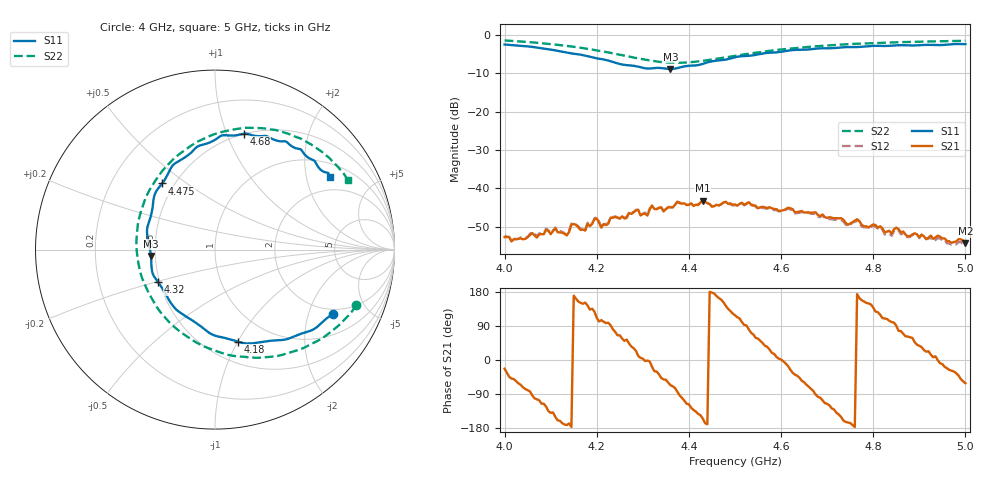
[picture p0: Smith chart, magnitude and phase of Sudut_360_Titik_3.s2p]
# Hz S RI R 50
! CMT, C1220, 16058040, 17.2.0/1
! Date: 15/08/2018 12:42:51
! Data: Format (Calibration Info)
! Freq  S11: Re/Im (F2)  S21: Re/Im (F2)  S12: Re/Im (F2)  S22: Re/Im (F2)
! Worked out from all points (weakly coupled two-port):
!   201 points, 4 GHz to 5 GHz, reference 50 ohm
!   highest |S21| = -43.26 dB at 4.43 GHz (marker M1); lowest = -54.4 dB at 5 GHz (marker M2)
!   lowest |S11| = -8.9 dB at 4.36 GHz (marker M3), VSWR 2.12, Z = 23.6 - j1.93 ohm
!   |S11| at or under -10 dB: nowhere
!   |S22| runs from -7.3 to -1.4 dB; largest |S21 - S12| = 0.00028
!   S11 on the Smith chart (normalised r, x): 4 GHz: 1.80, -2.93; 4.18 GHz: 0.70, -1.00; 4.32 GHz: 0.49, -0.20; 4.475 GHz: 0.43, +0.41; 4.68 GHz: 0.50, +1.15; 5 GHz: 1.45, +2.75
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4e9  0.6597 -0.3569  0.00212 -0.000905  0.00225 -0.000914  0.7877 -0.3106
4.015e9  0.6327 -0.3749  0.00133 -0.00153  0.00142 -0.00148  0.7624 -0.3454
4.11e9  0.3758 -0.5033  -0.00261 -0.00151  -0.00265 -0.00156  0.5266 -0.5315
4.135e9  0.292 -0.5103  -0.0024 -0.000347  -0.00243 -0.000459  0.442 -0.566
4.15e9  0.2324 -0.5191  -0.00336 0.000607  -0.00352 0.000524  0.3867 -0.583
4.17e9  0.1602 -0.5211  -0.00247 0.00151  -0.00259 0.00152  0.3102 -0.5972
4.18e9  0.1267 -0.5129  -0.00279 0.00204  -0.0029 0.00204  0.2682 -0.6004
4.2e9  0.0533 -0.4919  -0.00147 0.00378  -0.00157 0.0039  0.1843 -0.5998
4.21e9  0.015 -0.4839  -0.000803 0.00296  -0.000887 0.00302  0.1413 -0.5962
4.29e9  -0.2463 -0.2963  0.00512 0.000947  0.00518 0.000939  -0.2032 -0.4503
4.31e9  -0.2928 -0.2167  0.0044 -0.0001  0.0045 -0.00016  -0.2758 -0.3811
4.32e9  -0.3192 -0.1794  0.0056 -0.00183  0.00567 -0.0019  -0.3092 -0.3418
4.335e9  -0.3487 -0.1293  0.00438 -0.0034  0.00439 -0.00344  -0.3498 -0.2761
4.36e9  -0.3569 -0.0356  0.00224 -0.00515  0.00222 -0.00524  -0.4061 -0.1596
4.43e9  -0.3478 0.2325  -0.00619 -0.00298  -0.00617 -0.00281  -0.4196 0.1867
4.475e9  -0.2957 0.3683  -0.00578 0.00305  -0.00569 0.00314  -0.34 0.3713
4.5e9  -0.2495 0.4471  -0.00289 0.00543  -0.00281 0.00537  -0.2809 0.4531
4.67e9  0.1404 0.6411  0.000691 -0.00478  0.000557 -0.00462  0.1997 0.6788
4.68e9  0.159 0.6455  -0.000564 -0.00443  -0.000549 -0.00422  0.2266 0.6778
4.835e9  0.4467 0.5657  -0.000634 0.00271  -0.000579 0.00248  0.5471 0.5781
4.85e9  0.4701 0.5611  -2.98e-05 0.00306  -4.6e-05 0.00293  0.5721 0.5605
5e9  0.6395 0.406  0.000923 -0.00168  0.000899 -0.00151  0.7436 0.3865
